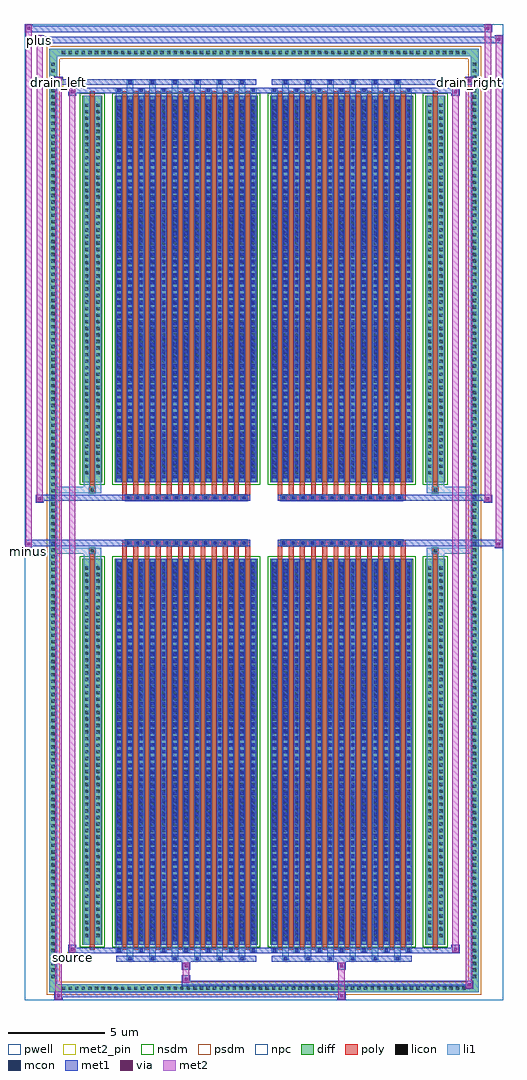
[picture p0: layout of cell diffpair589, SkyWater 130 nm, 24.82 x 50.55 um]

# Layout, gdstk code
import gdstk
lib = gdstk.Library(unit=1e-6, precision=5e-09)
def R(c, l, rs):  # rectangles x0, y0, x1, y1
    for r in rs: c.add(gdstk.rectangle(r[:2], r[2:], *l))
def A(c, l, x, y, w, h, nx, ny, dx, dy):  # array of equal rectangles
    R(c, l, [(x+i*dx, y+j*dy, x+i*dx+w, y+j*dy+h) for i in range(nx) for j in range(ny)])
def P(c, l, *ps):  # polygons
    for p in ps: c.add(gdstk.Polygon(p, *l))
pwell = (64, 44)
diff = (65, 20)
poly = (66, 20)
licon = (66, 44)
li1 = (67, 20)
mcon = (67, 44)
met1 = (68, 20)
via = (68, 44)
met2_pin = (69, 16)
met2 = (69, 20)
nsdm = (93, 44)
psdm = (94, 20)
npc = (95, 20)

diffpair589 = lib.new_cell('diffpair589')
R(diffpair589, pwell, [(-12.39,-24.84,12.39,25.71), (-9.71,-23.03,-0.01,-0.805), (0.01,-23.03,9.71,-0.805), (-9.71,0.805,-0.01,23.03), (0.01,0.805,9.71,23.03)])
A(diffpair589, diff, -10.575, -24.44, 0.41, 0.41, 62, 2, 0.34, 48.47)
A(diffpair589, diff, -11.12, -23.835, 0.41, 0.41, 1, 140, 0, 0.34)
A(diffpair589, diff, 10.71, -23.835, 0.41, 0.41, 1, 140, 0, 0.34)
R(diffpair589, diff, [(-10.575,-24.44,10.575,-24.03), (-11.12,-23.835,-10.71,23.835), (10.71,-23.835,11.12,23.835), (-9.4,-21.985,-8.37,-1.985), (-7.73,-21.985,-0.32,-1.985), (0.32,-21.985,7.73,-1.985), (8.37,-21.985,9.4,-1.985), (-9.4,1.985,-8.37,21.985), (-7.73,1.985,-0.32,21.985), (0.32,1.985,7.73,21.985), (8.37,1.985,9.4,21.985), (-10.575,24.03,10.575,24.44)])
P(diffpair589, diff, [(11.12,24.44),(-11.12,24.44),(-11.12,-24.03),(-10.71,-24.03),(-10.71,24.03),(10.71,24.03),(10.71,-24.03),(-10.71,-24.03),(-11.12,-24.03),(-11.12,-24.44),(11.12,-24.44)])
A(diffpair589, poly, -7.34, -22.235, 0.25, 20.5, 12, 2, 0.58, 23.97)
A(diffpair589, poly, 0.71, -22.235, 0.25, 20.5, 12, 2, 0.58, 23.97)
A(diffpair589, poly, -7.34, -1.735, 0.25, 0.4, 12, 2, 0.58, 3.07)
A(diffpair589, poly, 0.71, -1.735, 0.25, 0.4, 12, 2, 0.58, 3.07)
A(diffpair589, poly, -7.19, -1.335, 0.33, 0.33, 13, 2, 0.5, 2.34)
A(diffpair589, poly, 0.86, -1.335, 0.33, 0.33, 13, 2, 0.5, 2.34)
R(diffpair589, poly, [(-9.01,-22.235,-8.76,-1.735), (8.76,-22.235,9.01,-1.735), (-9.05,-1.735,-8.72,-1.405), (-9.05,-1.735,-8.72,-1.405), (8.72,-1.735,9.05,-1.405), (8.72,-1.735,9.05,-1.405), (-7.34,-1.335,-0.71,-1.005), (0.71,-1.335,7.34,-1.005), (-7.34,1.005,-0.71,1.335), (0.71,1.005,7.34,1.335), (-9.05,1.405,-8.72,1.735), (-9.05,1.405,-8.72,1.735), (8.72,1.405,9.05,1.735), (8.72,1.405,9.05,1.735), (-9.01,1.735,-8.76,22.235), (8.76,1.735,9.01,22.235)])
A(diffpair589, licon, -10.455, -24.32, 0.17, 0.17, 62, 2, 0.34, 48.47)
A(diffpair589, licon, -11, -23.715, 0.17, 0.17, 1, 140, 0, 0.34)
A(diffpair589, licon, 10.83, -23.715, 0.17, 0.17, 1, 140, 0, 0.34)
A(diffpair589, licon, -9.26, -21.59, 0.17, 0.17, 1, 57, 0, 0.34)
A(diffpair589, licon, -8.68, -21.59, 0.17, 0.17, 1, 57, 0, 0.34)
A(diffpair589, licon, -7.59, -21.59, 0.17, 0.17, 13, 57, 0.58, 0.34)
A(diffpair589, licon, 0.46, -21.59, 0.17, 0.17, 13, 57, 0.58, 0.34)
A(diffpair589, licon, 8.51, -21.59, 0.17, 0.17, 1, 57, 0, 0.34)
A(diffpair589, licon, 9.09, -21.59, 0.17, 0.17, 1, 57, 0, 0.34)
A(diffpair589, licon, -7.11, -1.255, 0.17, 0.17, 13, 2, 0.5, 2.34)
A(diffpair589, licon, 0.94, -1.255, 0.17, 0.17, 13, 2, 0.5, 2.34)
A(diffpair589, licon, -9.26, 2.38, 0.17, 0.17, 1, 57, 0, 0.34)
A(diffpair589, licon, -8.68, 2.38, 0.17, 0.17, 1, 57, 0, 0.34)
A(diffpair589, licon, -7.59, 2.38, 0.17, 0.17, 13, 57, 0.58, 0.34)
A(diffpair589, licon, 0.46, 2.38, 0.17, 0.17, 13, 57, 0.58, 0.34)
A(diffpair589, licon, 8.51, 2.38, 0.17, 0.17, 1, 57, 0, 0.34)
A(diffpair589, licon, 9.09, 2.38, 0.17, 0.17, 1, 57, 0, 0.34)
R(diffpair589, licon, [(-8.97,-1.655,-8.8,-1.485), (8.8,-1.655,8.97,-1.485), (-8.97,1.485,-8.8,1.655), (8.8,1.485,8.97,1.655)])
A(diffpair589, li1, -10.535, -24.4, 0.33, 0.33, 62, 2, 0.34, 48.47)
A(diffpair589, li1, -11.08, -23.795, 0.33, 0.33, 1, 140, 0, 0.34)
A(diffpair589, li1, 10.75, -23.795, 0.33, 0.33, 1, 140, 0, 0.34)
A(diffpair589, li1, -7.09, -22.79, 0.33, 0.805, 6, 2, 1.16, 44.775)
A(diffpair589, li1, -7.01, -22.79, 0.17, 0.17, 6, 2, 1.16, 45.41)
A(diffpair589, li1, 0.96, -22.79, 0.33, 0.805, 6, 2, 1.16, 44.775)
A(diffpair589, li1, 1.04, -22.79, 0.17, 0.17, 6, 2, 1.16, 45.41)
A(diffpair589, li1, -7.67, -22.36, 0.33, 0.375, 7, 2, 1.16, 44.345)
A(diffpair589, li1, -7.59, -22.36, 0.17, 0.17, 7, 2, 1.16, 44.55)
A(diffpair589, li1, 0.38, -22.36, 0.33, 0.375, 7, 2, 1.16, 44.345)
A(diffpair589, li1, 0.46, -22.36, 0.17, 0.17, 7, 2, 1.16, 44.55)
A(diffpair589, li1, -7.67, -21.985, 0.33, 20, 13, 2, 0.58, 23.97)
A(diffpair589, li1, 0.38, -21.985, 0.33, 20, 13, 2, 0.58, 23.97)
A(diffpair589, li1, -7.59, -21.79, 0.17, 0.17, 13, 55, 0.58, 0.36)
A(diffpair589, li1, -7.59, -21.79, 0.17, 19.61, 13, 2, 0.58, 23.97)
A(diffpair589, li1, 0.46, -21.79, 0.17, 0.17, 13, 55, 0.58, 0.36)
A(diffpair589, li1, 0.46, -21.79, 0.17, 19.61, 13, 2, 0.58, 23.97)
A(diffpair589, li1, -9.34, -21.67, 0.33, 0.33, 1, 57, 0, 0.34)
A(diffpair589, li1, -8.76, -21.67, 0.33, 0.33, 1, 57, 0, 0.34)
A(diffpair589, li1, -7.67, -21.67, 0.33, 0.33, 13, 57, 0.58, 0.34)
A(diffpair589, li1, 0.38, -21.67, 0.33, 0.33, 13, 57, 0.58, 0.34)
A(diffpair589, li1, 8.43, -21.67, 0.33, 0.33, 1, 57, 0, 0.34)
A(diffpair589, li1, 9.01, -21.67, 0.33, 0.33, 1, 57, 0, 0.34)
A(diffpair589, li1, -7.19, -1.335, 0.33, 0.33, 13, 2, 0.5, 2.34)
A(diffpair589, li1, 0.86, -1.335, 0.33, 0.33, 13, 2, 0.5, 2.34)
A(diffpair589, li1, -7.59, 2.18, 0.17, 0.17, 13, 55, 0.58, 0.36)
A(diffpair589, li1, 0.46, 2.18, 0.17, 0.17, 13, 55, 0.58, 0.36)
A(diffpair589, li1, -9.34, 2.3, 0.33, 0.33, 1, 57, 0, 0.34)
A(diffpair589, li1, -8.76, 2.3, 0.33, 0.33, 1, 57, 0, 0.34)
A(diffpair589, li1, -7.67, 2.3, 0.33, 0.33, 13, 57, 0.58, 0.34)
A(diffpair589, li1, 0.38, 2.3, 0.33, 0.33, 13, 57, 0.58, 0.34)
A(diffpair589, li1, 8.43, 2.3, 0.33, 0.33, 1, 57, 0, 0.34)
A(diffpair589, li1, 9.01, 2.3, 0.33, 0.33, 1, 57, 0, 0.34)
R(diffpair589, li1, [(-11.12,-24.44,-10.71,-24.03), (-11.12,-24.44,-10.71,-24.03), (-10.71,-24.44,10.71,-24.03), (10.71,-24.44,11.12,-24.03), (10.71,-24.44,11.12,-24.03), (-11.12,-24.03,-10.71,24.03), (10.71,-24.03,11.12,24.03), (-9.34,-21.985,-9.01,-1.985), (-8.76,-21.985,-8.43,-1.985), (8.43,-21.985,8.76,-1.985), (9.01,-21.985,9.34,-1.985), (-9.34,-1.985,-9.01,-1.405), (-8.76,-1.985,-8.43,-1.405), (8.43,-1.985,8.76,-1.405), (9.01,-1.985,9.34,-1.405), (-11.12,-1.735,-9.05,-1.405), (-9.34,-1.735,-9.05,-1.405), (-9.05,-1.735,-8.72,-1.405), (-8.72,-1.735,-8.43,-1.405), (8.43,-1.735,8.72,-1.405), (8.72,-1.735,9.05,-1.405), (8.72,-1.735,11.12,-1.405), (9.05,-1.735,9.34,-1.405), (-11.12,1.405,-9.05,1.735), (-9.34,1.405,-9.05,1.735), (-9.34,1.405,-9.01,1.985), (-9.05,1.405,-8.72,1.735), (-8.76,1.405,-8.43,1.985), (-8.72,1.405,-8.43,1.735), (8.43,1.405,8.72,1.735), (8.43,1.405,8.76,1.985), (8.72,1.405,9.05,1.735), (8.72,1.405,11.12,1.735), (9.01,1.405,9.34,1.985), (9.05,1.405,9.34,1.735), (-9.34,1.985,-9.01,21.985), (-8.76,1.985,-8.43,21.985), (8.43,1.985,8.76,21.985), (9.01,1.985,9.34,21.985), (-11.12,24.03,-10.71,24.44), (-11.12,24.03,-10.71,24.44), (-10.71,24.03,10.71,24.44), (10.71,24.03,11.12,24.44), (10.71,24.03,11.12,24.44)])
A(diffpair589, mcon, -7.01, -22.79, 0.17, 0.17, 6, 2, 1.16, 45.41)
A(diffpair589, mcon, 1.04, -22.79, 0.17, 0.17, 6, 2, 1.16, 45.41)
A(diffpair589, mcon, -7.59, -22.36, 0.17, 0.17, 7, 2, 1.16, 44.55)
A(diffpair589, mcon, 0.46, -22.36, 0.17, 0.17, 7, 2, 1.16, 44.55)
A(diffpair589, mcon, -7.59, -21.79, 0.17, 0.17, 13, 55, 0.58, 0.36)
A(diffpair589, mcon, 0.46, -21.79, 0.17, 0.17, 13, 55, 0.58, 0.36)
A(diffpair589, mcon, -7.11, -1.255, 0.17, 0.17, 13, 2, 0.5, 2.34)
A(diffpair589, mcon, 0.94, -1.255, 0.17, 0.17, 13, 2, 0.5, 2.34)
A(diffpair589, mcon, -7.59, 2.18, 0.17, 0.17, 13, 55, 0.58, 0.36)
A(diffpair589, mcon, 0.46, 2.18, 0.17, 0.17, 13, 55, 0.58, 0.36)
A(diffpair589, met1, -7.07, -22.85, 0.29, 0.29, 6, 2, 1.16, 45.41)
A(diffpair589, met1, 0.98, -22.85, 0.29, 0.29, 6, 2, 1.16, 45.41)
A(diffpair589, met1, -7.65, -22.42, 0.29, 0.29, 7, 2, 1.16, 44.55)
A(diffpair589, met1, 0.4, -22.42, 0.29, 0.29, 7, 2, 1.16, 44.55)
A(diffpair589, met1, -7.65, -21.985, 0.29, 20, 13, 2, 0.58, 23.97)
A(diffpair589, met1, 0.4, -21.985, 0.29, 20, 13, 2, 0.58, 23.97)
A(diffpair589, met1, -7.65, -21.85, 0.29, 0.29, 13, 55, 0.58, 0.36)
A(diffpair589, met1, 0.4, -21.85, 0.29, 0.29, 13, 55, 0.58, 0.36)
A(diffpair589, met1, -7.17, -1.315, 0.29, 0.29, 13, 2, 0.5, 2.34)
A(diffpair589, met1, 0.88, -1.315, 0.29, 0.29, 13, 2, 0.5, 2.34)
A(diffpair589, met1, -7.65, 2.12, 0.29, 0.29, 13, 55, 0.58, 0.36)
A(diffpair589, met1, 0.4, 2.12, 0.29, 0.29, 13, 55, 0.58, 0.36)
R(diffpair589, met1, [(-10.85,-24.84,-10.42,-24.41), (3.81,-24.84,4.24,-24.41), (-10.85,-24.7,4.24,-24.41), (10.42,-24.27,10.85,-23.84), (-4.24,-24.13,10.85,-23.84), (-4.24,-23.99,-3.81,-23.56), (-4.24,-23.28,-3.81,-22.85), (3.81,-23.28,4.24,-22.85), (-7.65,-22.85,-0.4,-22.56), (0.4,-22.85,7.65,-22.56), (-10.14,-22.42,-9.71,-21.99), (-10.14,-22.42,-7.65,-22.13), (-7.65,-22.42,-0.4,-22.13), (-0.4,-22.42,0.4,-22.13), (0.4,-22.42,7.65,-22.13), (7.65,-22.42,10.14,-22.13), (9.71,-22.42,10.14,-21.99), (-12.39,-1.435,-11.96,-1.005), (11.96,-1.435,12.39,-1.005), (-12.39,-1.335,-0.71,-1.005), (-7.34,-1.335,-0.71,-1.005), (0.71,-1.335,7.34,-1.005), (0.71,-1.335,12.39,-1.005), (-11.82,0.905,-11.39,1.335), (11.39,0.905,11.82,1.335), (-11.82,1.005,-7.34,1.335), (-7.34,1.005,-0.71,1.335), (0.71,1.005,7.34,1.335), (7.34,1.005,11.82,1.335), (-10.14,21.99,-9.71,22.42), (9.71,21.99,10.14,22.42), (-10.14,22.13,-7.65,22.42), (-7.65,22.13,-0.4,22.42), (-0.4,22.13,0.4,22.42), (0.4,22.13,7.65,22.42), (7.65,22.13,10.14,22.42), (-10.85,22.56,-10.42,22.99), (-10.85,22.56,-7.65,22.85), (-7.65,22.56,-0.4,22.85), (0.4,22.56,7.65,22.85), (7.65,22.56,10.85,22.85), (10.42,22.56,10.85,22.99), (-11.82,24.71,-11.39,25.14), (-11.82,24.71,-9.71,25.04), (-9.71,24.71,9.71,25.04), (9.71,24.71,12.39,25.04), (11.96,24.71,12.39,25.14), (-12.39,25.28,-11.96,25.71), (-12.39,25.28,-9.71,25.61), (-9.71,25.28,9.71,25.61), (9.71,25.28,11.82,25.61), (11.39,25.28,11.82,25.71)])
R(diffpair589, via, [(-10.71,-24.7,-10.56,-24.55), (3.95,-24.7,4.1,-24.55), (10.56,-24.13,10.71,-23.98), (-4.1,-23.85,-3.95,-23.7), (-4.1,-23.14,-3.95,-22.99), (3.95,-23.14,4.1,-22.99), (-10,-22.28,-9.85,-22.13), (9.85,-22.28,10,-22.13), (-12.25,-1.295,-12.1,-1.145), (12.1,-1.295,12.25,-1.145), (-11.68,1.045,-11.53,1.195), (11.53,1.045,11.68,1.195), (-10,22.13,-9.85,22.28), (9.85,22.13,10,22.28), (-10.71,22.7,-10.56,22.85), (10.56,22.7,10.71,22.85), (-11.68,24.85,-11.53,25), (12.1,24.85,12.25,25), (-12.25,25.42,-12.1,25.57), (11.53,25.42,11.68,25.57)])
R(diffpair589, met2_pin, [(-10.175,-22.87,-9.675,-22.37), (-12.425,-1.885,-11.925,-1.385), (-10.885,22.44,-10.385,22.94), (10.385,22.44,10.885,22.94), (-11.855,24.59,-11.355,25.09)])
R(diffpair589, met2, [(-10.8,-24.79,-10.47,-24.46), (-10.8,-24.79,-10.47,22.94), (3.86,-24.79,4.19,-24.46), (3.86,-24.46,4.19,-23.23), (10.47,-24.22,10.8,-23.89), (10.47,-24.22,10.8,22.94), (-4.19,-23.94,-3.86,-23.61), (-4.19,-23.61,-3.86,-23.23), (-4.19,-23.23,-3.86,-22.9), (3.86,-23.23,4.19,-22.9), (-10.09,-22.37,-9.76,-22.04), (-10.09,-22.37,-9.76,22.37), (9.76,-22.37,10.09,-22.04), (9.76,-22.37,10.09,22.37), (-12.34,-1.385,-12.01,-1.055), (-12.34,-1.385,-12.01,25.66), (12.01,-1.385,12.34,-1.055), (12.01,-1.385,12.34,25.09), (-11.77,0.955,-11.44,1.285), (-11.77,0.955,-11.44,25.09), (11.44,0.955,11.77,1.285), (11.44,0.955,11.77,25.66), (-10.09,22.04,-9.76,22.37), (9.76,22.04,10.09,22.37), (-10.8,22.61,-10.47,22.94), (10.47,22.61,10.8,22.94), (-11.77,24.76,-11.44,25.09), (12.01,24.76,12.34,25.09), (-12.34,25.33,-12.01,25.66), (11.44,25.33,11.77,25.66)])
P(diffpair589, met2, [(12.34,-1.385),(12.34,-1.385),(12.34,-1.055),(12.34,-1.055)],
  [(12.34,24.76),(12.34,24.76),(12.34,25.09),(12.34,25.09)],
  [(-12.01,-1.385),(-12.01,-1.385),(-12.01,-1.055),(-12.01,-1.055)],
  [(-12.01,25.33),(-12.01,25.33),(-12.01,25.66),(-12.01,25.66)],
  [(11.77,0.955),(11.77,0.955),(11.77,1.285),(11.77,1.285)],
  [(11.77,25.33),(11.77,25.33),(11.77,25.66),(11.77,25.66)],
  [(-11.44,0.955),(-11.44,0.955),(-11.44,1.285),(-11.44,1.285)],
  [(-11.44,24.76),(-11.44,24.76),(-11.44,25.09),(-11.44,25.09)],
  [(-10.47,-24.79),(-10.47,-24.79),(-10.47,-24.46),(-10.47,-24.46)],
  [(-10.47,22.61),(-10.47,22.61),(-10.47,22.94),(-10.47,22.94)],
  [(10.8,-24.22),(10.8,-24.22),(10.8,-23.89),(10.8,-23.89)],
  [(10.8,22.61),(10.8,22.61),(10.8,22.94),(10.8,22.94)],
  [(-9.76,-22.37),(-9.76,-22.37),(-9.76,-22.04),(-9.76,-22.04)],
  [(-9.76,22.04),(-9.76,22.04),(-9.76,22.37),(-9.76,22.37)],
  [(10.09,-22.37),(10.09,-22.37),(10.09,-22.04),(10.09,-22.04)],
  [(10.09,22.04),(10.09,22.04),(10.09,22.37),(10.09,22.37)])
R(diffpair589, nsdm, [(-9.53,-22.115,-8.24,-1.855), (-7.86,-22.115,-0.19,-1.855), (0.19,-22.115,7.86,-1.855), (8.24,-22.115,9.53,-1.855), (-9.53,1.855,-8.24,22.115), (-7.86,1.855,-0.19,22.115), (0.19,1.855,7.86,22.115), (8.24,1.855,9.53,22.115)])
P(diffpair589, psdm, [(11.25,24.57),(-11.25,24.57),(-11.25,-23.9),(-10.58,-23.9),(-10.58,23.9),(10.58,23.9),(10.58,-23.9),(-10.58,-23.9),(-11.25,-23.9),(-11.25,-24.57),(11.25,-24.57)])
A(diffpair589, npc, -7.21, -1.355, 0.37, 0.37, 13, 2, 0.5, 2.34)
A(diffpair589, npc, 0.84, -1.355, 0.37, 0.37, 13, 2, 0.5, 2.34)
R(diffpair589, npc, [(-9.07,-1.755,-8.7,-1.385), (8.7,-1.755,9.07,-1.385), (-7.21,-1.355,-6.34,-0.985), (-7.21,-1.355,-6.34,-0.985), (-6.71,-1.355,-5.84,-0.985), (-6.71,-1.355,-5.84,-0.985), (-6.21,-1.355,-5.34,-0.985), (-6.21,-1.355,-5.34,-0.985), (-5.71,-1.355,-4.84,-0.985), (-5.71,-1.355,-4.84,-0.985), (-5.21,-1.355,-4.34,-0.985), (-5.21,-1.355,-4.34,-0.985), (-4.71,-1.355,-3.84,-0.985), (-4.71,-1.355,-3.84,-0.985), (-4.21,-1.355,-3.34,-0.985), (-4.21,-1.355,-3.34,-0.985), (-3.71,-1.355,-2.84,-0.985), (-3.71,-1.355,-2.84,-0.985), (-3.21,-1.355,-2.34,-0.985), (-3.21,-1.355,-2.34,-0.985), (-2.71,-1.355,-1.84,-0.985), (-2.71,-1.355,-1.84,-0.985), (-2.21,-1.355,-1.34,-0.985), (-2.21,-1.355,-1.34,-0.985), (-1.71,-1.355,-0.84,-0.985), (-1.71,-1.355,-0.84,-0.985), (0.84,-1.355,1.71,-0.985), (0.84,-1.355,1.71,-0.985), (1.34,-1.355,2.21,-0.985), (1.34,-1.355,2.21,-0.985), (1.84,-1.355,2.71,-0.985), (1.84,-1.355,2.71,-0.985), (2.34,-1.355,3.21,-0.985), (2.34,-1.355,3.21,-0.985), (2.84,-1.355,3.71,-0.985), (2.84,-1.355,3.71,-0.985), (3.34,-1.355,4.21,-0.985), (3.34,-1.355,4.21,-0.985), (3.84,-1.355,4.71,-0.985), (3.84,-1.355,4.71,-0.985), (4.34,-1.355,5.21,-0.985), (4.34,-1.355,5.21,-0.985), (4.84,-1.355,5.71,-0.985), (4.84,-1.355,5.71,-0.985), (5.34,-1.355,6.21,-0.985), (5.34,-1.355,6.21,-0.985), (5.84,-1.355,6.71,-0.985), (5.84,-1.355,6.71,-0.985), (6.34,-1.355,7.21,-0.985), (6.34,-1.355,7.21,-0.985), (-7.21,0.985,-6.34,1.355), (-7.21,0.985,-6.34,1.355), (-6.71,0.985,-5.84,1.355), (-6.71,0.985,-5.84,1.355), (-6.21,0.985,-5.34,1.355), (-6.21,0.985,-5.34,1.355), (-5.71,0.985,-4.84,1.355), (-5.71,0.985,-4.84,1.355), (-5.21,0.985,-4.34,1.355), (-5.21,0.985,-4.34,1.355), (-4.71,0.985,-3.84,1.355), (-4.71,0.985,-3.84,1.355), (-4.21,0.985,-3.34,1.355), (-4.21,0.985,-3.34,1.355), (-3.71,0.985,-2.84,1.355), (-3.71,0.985,-2.84,1.355), (-3.21,0.985,-2.34,1.355), (-3.21,0.985,-2.34,1.355), (-2.71,0.985,-1.84,1.355), (-2.71,0.985,-1.84,1.355), (-2.21,0.985,-1.34,1.355), (-2.21,0.985,-1.34,1.355), (-1.71,0.985,-0.84,1.355), (-1.71,0.985,-0.84,1.355), (0.84,0.985,1.71,1.355), (0.84,0.985,1.71,1.355), (1.34,0.985,2.21,1.355), (1.34,0.985,2.21,1.355), (1.84,0.985,2.71,1.355), (1.84,0.985,2.71,1.355), (2.34,0.985,3.21,1.355), (2.34,0.985,3.21,1.355), (2.84,0.985,3.71,1.355), (2.84,0.985,3.71,1.355), (3.34,0.985,4.21,1.355), (3.34,0.985,4.21,1.355), (3.84,0.985,4.71,1.355), (3.84,0.985,4.71,1.355), (4.34,0.985,5.21,1.355), (4.34,0.985,5.21,1.355), (4.84,0.985,5.71,1.355), (4.84,0.985,5.71,1.355), (5.34,0.985,6.21,1.355), (5.34,0.985,6.21,1.355), (5.84,0.985,6.71,1.355), (5.84,0.985,6.71,1.355), (6.34,0.985,7.21,1.355), (6.34,0.985,7.21,1.355), (-9.07,1.385,-8.7,1.755), (8.7,1.385,9.07,1.755)])
diffpair589.add(gdstk.Label('minus', (-12.175,-1.635), layer=69, texttype=5))
diffpair589.add(gdstk.Label('drain_right', (10.635,22.69), layer=69, texttype=5))
diffpair589.add(gdstk.Label('drain_left', (-10.635,22.69), layer=69, texttype=5))
diffpair589.add(gdstk.Label('source', (-9.925,-22.62), layer=69, texttype=5))
diffpair589.add(gdstk.Label('plus', (-11.605,24.84), layer=69, texttype=5))

lib.write_gds('diffpair589.gds')
